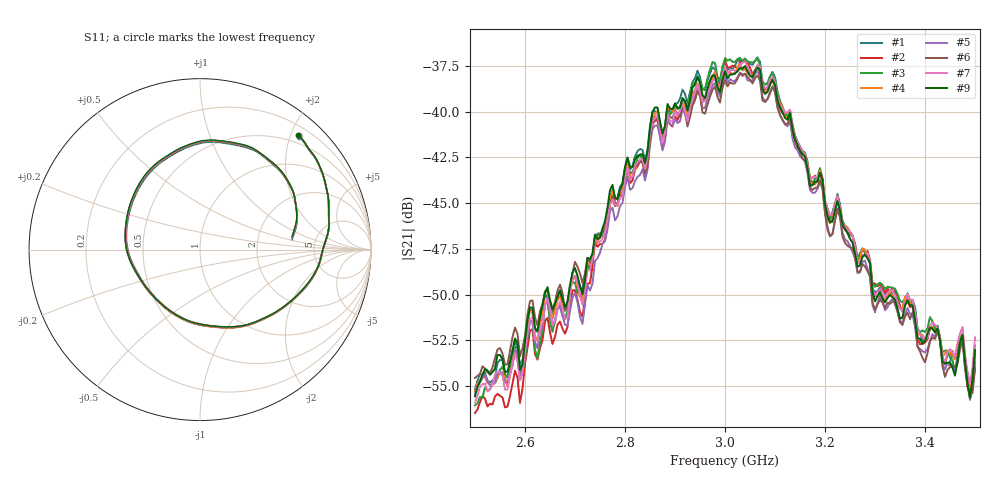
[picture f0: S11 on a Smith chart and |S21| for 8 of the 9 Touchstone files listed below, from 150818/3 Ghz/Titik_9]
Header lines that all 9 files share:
# Hz S RI R 50
! CMT, C1220, 16058040, 17.2.0/1
! Data: Format (Calibration Info)
! Freq  S11: Re/Im (F2)  S21: Re/Im (F2)  S12: Re/Im (F2)  S22: Re/Im (F2)
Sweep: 2.5 GHz to 3.5 GHz
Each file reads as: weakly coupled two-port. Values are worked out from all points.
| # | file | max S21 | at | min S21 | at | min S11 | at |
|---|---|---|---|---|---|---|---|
| 1 | Sudut_20_Titik_9.s2p | -37.03 dB | 3.065 GHz | -55.4 dB | 3.49 GHz | -8.4 dB | 2.985 GHz |
| 2 | Sudut_80_Titik_9.s2p | -37.12 dB | 3.04 GHz | -56.5 dB | 2.5 GHz | -8.4 dB | 2.985 GHz |
| 3 | Sudut_130_Titik_9.s2p | -37.06 dB | 3.03 GHz | -56.0 dB | 2.5 GHz | -8.2 dB | 2.985 GHz |
| 4 | Sudut_160_Titik_9.s2p | -37.41 dB | 3.03 GHz | -55.3 dB | 2.5 GHz | -8.2 dB | 2.985 GHz |
| 5 | Sudut_190_Titik_9.s2p | -37.79 dB | 3.065 GHz | -55.7 dB | 3.49 GHz | -8.3 dB | 2.99 GHz |
| 6 | Sudut_220_Titik_9.s2p | -37.91 dB | 3.03 GHz | -55.4 dB | 3.495 GHz | -8.3 dB | 2.985 GHz |
| 7 | Sudut_250_Titik_9.s2p | -37.25 dB | 3.04 GHz | -55.9 dB | 2.5 GHz | -8.3 dB | 2.985 GHz |
| 8 | Sudut_340_Titik_9.s2p | -37.40 dB | 3.04 GHz | -55.8 dB | 3.49 GHz | -8.3 dB | 2.99 GHz |
| 9 | Sudut_350_Titik_9.s2p | -37.52 dB | 3.04 GHz | -55.6 dB | 3.49 GHz | -8.3 dB | 2.99 GHz |
